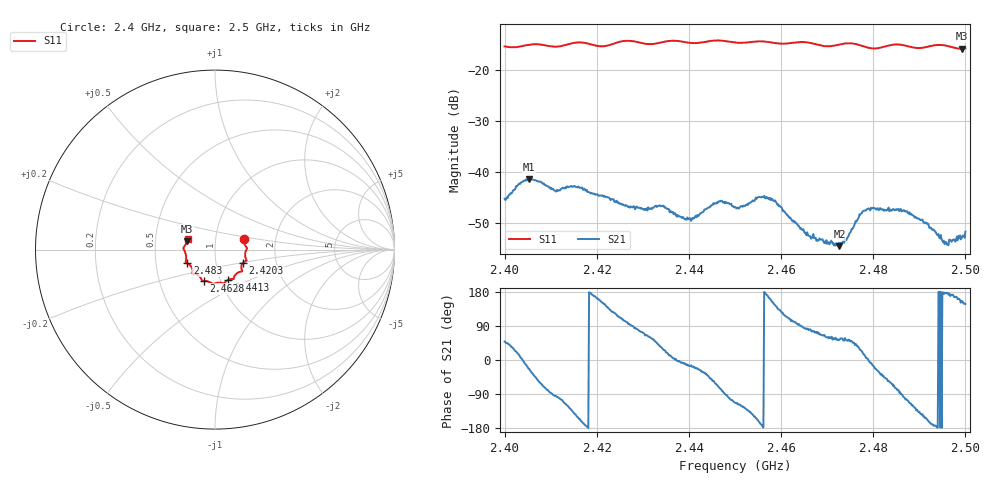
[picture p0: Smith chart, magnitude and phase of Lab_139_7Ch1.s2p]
# Hz S RI R 50
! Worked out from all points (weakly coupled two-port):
!   601 points, 2.4 GHz to 2.5 GHz, reference 50 ohm
!   highest |S21| = -41.32 dB at 2.4053 GHz (marker M1); lowest = -54.4 dB at 2.4727 GHz (marker M2)
!   lowest |S11| = -15.8 dB at 2.4992 GHz (marker M3), VSWR 1.39, Z = 36.5 + j3.54 ohm
!   |S11| at or under -10 dB: start of sweep to end of sweep
!   S12 and S22 are empty: the file has one direction only
!   S11 on the Smith chart (normalised r, x): 2.4 GHz: 1.37, +0.16; 2.4203 GHz: 1.35, -0.21; 2.4413 GHz: 1.09, -0.38; 2.4628 GHz: 0.83, -0.30; 2.483 GHz: 0.72, -0.11; 2.5 GHz: 0.73, +0.09
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2.4e9  0.1605 0.0568  0.00363 0.00414  0 0  0 0
2.405333e9  0.1768 0.012  0.00788 -0.00343  0 0  0 0
2.411167e9  0.1679 -0.0229  -0.000586 -0.00645  0 0  0 0
2.416667e9  0.1759 -0.0614  -0.00669 -0.0022  0 0  0 0
2.420333e9  0.1552 -0.0738  -0.0056 0.00191  0 0  0 0
2.427333e9  0.1503 -0.1212  -0.000197 0.00463  0 0  0 0
2.433333e9  0.1081 -0.1485  0.00353 0.00307  0 0  0 0
2.439e9  0.0939 -0.1634  0.00345 -0.000615  0 0  0 0
2.441333e9  0.0743 -0.168  0.00343 -0.00138  0 0  0 0
2.446667e9  0.0482 -0.1887  0.00143 -0.00504  0 0  0 0
2.45e9  0.0295 -0.184  -0.00177 -0.00421  0 0  0 0
2.456833e9  -0.0159 -0.1886  -0.0057 0.000793  0 0  0 0
2.462833e9  -0.063 -0.1748  -0.000614 0.0032  0 0  0 0
2.466667e9  -0.0743 -0.1675  0.000584 0.00219  0 0  0 0
2.472667e9  -0.116 -0.1347  0.00114 0.00152  0 0  0 0
2.477833e9  -0.1244 -0.1176  0.00402 0.00116  0 0  0 0
2.483e9  -0.1548 -0.0765  0.00272 -0.00332  0 0  0 0
2.483333e9  -0.1569 -0.0755  0.0026 -0.0037  0 0  0 0
2.490167e9  -0.1624 -0.0266  -0.00263 -0.00217  0 0  0 0
2.495833e9  -0.1727 0.0153  -0.00207 0.000155  0 0  0 0
2.499167e9  -0.1548 0.0473  -0.00207 0.000919  0 0  0 0
2.5e9  -0.1525 0.0586  -0.00223 0.0014  0 0  0 0
